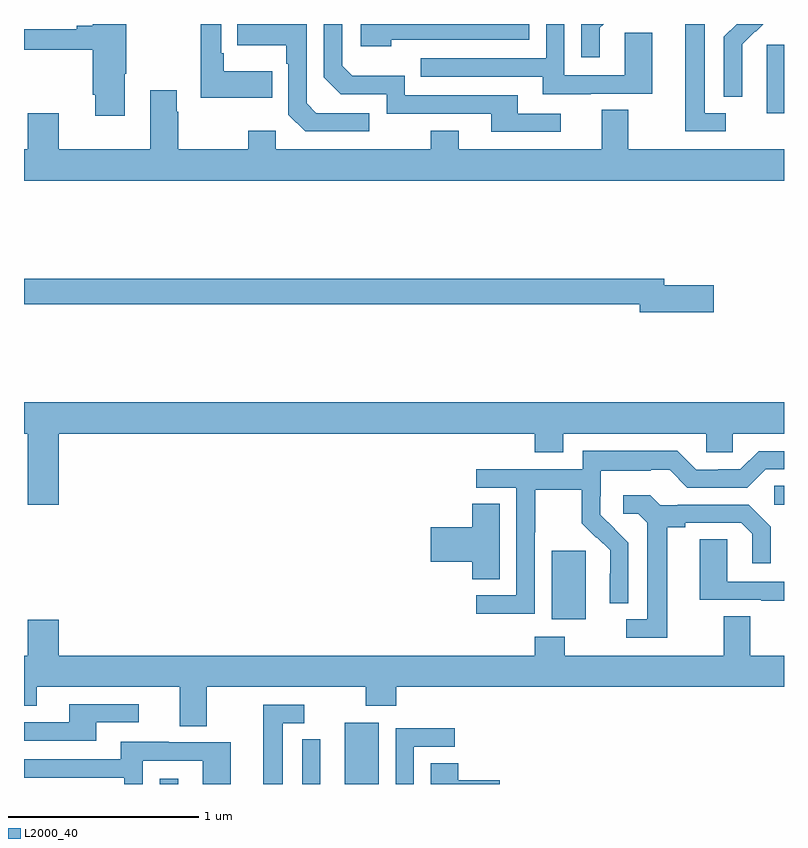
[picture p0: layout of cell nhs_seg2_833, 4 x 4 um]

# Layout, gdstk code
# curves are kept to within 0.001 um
import gdstk
lib = gdstk.Library(unit=1e-6, precision=1e-09)
def R(c, l, rs):  # rectangles x0, y0, x1, y1
    for r in rs: c.add(gdstk.rectangle(r[:2], r[2:], *l))
def P(c, l, *ps):  # polygons
    for p in ps: c.add(gdstk.Polygon(p, *l))
L2000_40 = (2000, 40)

nhs_seg2_833 = lib.new_cell('nhs_seg2_833')
R(nhs_seg2_833, L2000_40, [(153.714,637.8,153.811,637.828), (154.688,637.8,154.867,638.122), (155.777,638.666,155.956,639.027), (156.948,639.27,157,639.371), (156.908,641.33,157,641.691)])
P(nhs_seg2_833, L2000_40, [(155.824,641.328),(155.599,641.328),(155.599,641.424),(155.004,641.424),(155.004,641.527),(154.727,641.527),(154.674,641.58),(154.674,641.8),(154.578,641.8),(154.578,641.52),(154.668,641.43),(154.908,641.43),(154.908,641.328),(155.459,641.328),(155.459,641.232),(155.824,641.232)],
  [(156.694,641.331),(156.583,641.331),(156.583,641.8),(156.479,641.8),(156.479,641.235),(156.694,641.235)],
  [(156.031,641.781),(156.05,641.8),(155.934,641.8),(155.934,641.625),(156.031,641.625)],
  [(154.307,641.551),(154.051,641.551),(154.051,641.647),(154.038,641.647),(154.038,641.8),(153.93,641.8),(153.93,641.411),(154.307,641.411)],
  [(153.529,641.539),(153.537,641.539),(153.537,641.8),(153.362,641.8),(153.362,641.792),(153.278,641.792),(153.278,641.773),(153,641.773),(153,641.664),(153.362,641.664),(153.362,641.428),(153.374,641.428),(153.374,641.316),(153.529,641.316)],
  [(155.983,641.433),(156.307,641.433),(156.307,641.753),(156.162,641.753),(156.162,641.529),(155.844,641.529),(155.844,641.8),(155.748,641.8),(155.748,641.619),(155.089,641.619),(155.089,641.523),(155.729,641.523),(155.729,641.429),(155.983,641.429)],
  [(154.934,641.718),(155.658,641.718),(155.658,641.8),(154.773,641.8),(154.773,641.684),(154.934,641.684)],
  [(156.78,641.57),(156.779,641.57),(156.779,641.693),(156.849,641.763),(156.852,641.76),(156.892,641.8),(156.75,641.8),(156.684,641.734),(156.684,641.416),(156.78,641.416)],
  [(154.816,641.331),(154.539,641.331),(154.488,641.382),(154.488,641.8),(154.123,641.8),(154.123,641.687),(154.38,641.687),(154.38,641.591),(154.392,641.591),(154.392,641.322),(154.479,641.235),(154.816,641.235)],
  [(157,641.14),(156.181,641.14),(156.181,641.348),(156.041,641.348),(156.041,641.14),(155.287,641.14),(155.287,641.239),(155.14,641.239),(155.14,641.14),(154.326,641.14),(154.326,641.239),(154.18,641.239),(154.18,641.14),(153.813,641.14),(153.813,641.339),(153.805,641.339),(153.805,641.452),(153.665,641.452),(153.665,641.14),(153.184,641.14),(153.184,641.329),(153.02,641.329),(153.02,641.14),(153,641.14),(153,640.976),(157,640.976)],
  [(156.631,640.424),(156.37,640.424),(156.37,640.46),(153,640.46),(153,640.324),(156.242,640.324),(156.242,640.282),(156.631,640.282)],
  [(153.184,639.644),(155.687,639.644),(155.687,639.545),(155.839,639.545),(155.839,639.644),(156.591,639.644),(156.591,639.546),(156.729,639.546),(156.729,639.644),(157,639.644),(157,639.808),(153,639.808),(153,639.644),(153.02,639.644),(153.02,639.27),(153.184,639.27)],
  [(155.688,639.124),(155.691,639.124),(155.691,639.348),(155.935,639.348),(155.935,639.173),(156.012,639.096),(156.015,639.099),(156.086,639.029),(156.086,638.906),(156.084,638.906),(156.084,638.752),(156.18,638.752),(156.18,639.07),(156.034,639.218),(156.034,639.315),(156.036,639.315),(156.036,639.449),(156.299,639.449),(156.299,639.453),(156.399,639.453),(156.492,639.36),(156.807,639.36),(156.903,639.456),(157,639.456),(157,639.552),(156.867,639.552),(156.771,639.456),(156.653,639.456),(156.653,639.453),(156.537,639.453),(156.437,639.553),(155.94,639.553),(155.94,639.456),(155.379,639.456),(155.379,639.36),(155.592,639.36),(155.592,638.793),(155.379,638.793),(155.379,638.695),(155.688,638.695)],
  [(156.385,639.152),(156.481,639.152),(156.481,639.174),(156.776,639.174),(156.833,639.117),(156.833,638.961),(156.93,638.961),(156.93,639.154),(156.814,639.27),(156.442,639.27),(156.442,639.267),(156.348,639.267),(156.296,639.319),(156.153,639.319),(156.153,639.222),(156.234,639.222),(156.281,639.175),(156.281,638.667),(156.171,638.667),(156.171,638.571),(156.385,638.571)],
  [(155.503,639.275),(155.36,639.275),(155.36,639.152),(155.142,639.152),(155.142,638.969),(155.36,638.969),(155.36,638.878),(155.503,638.878)],
  [(157,638.865),(156.702,638.865),(156.702,639.089),(156.557,639.089),(156.557,638.769),(156.881,638.769),(156.881,638.765),(157,638.765)],
  [(153.184,638.665),(153.02,638.665),(153.02,638.476),(153,638.476),(153,638.213),(153.067,638.213),(153.067,638.312),(153.821,638.312),(153.821,638.104),(153.961,638.104),(153.961,638.312),(154.798,638.312),(154.798,638.213),(154.958,638.213),(154.958,638.312),(157,638.312),(157,638.476),(156.823,638.476),(156.823,638.684),(156.683,638.684),(156.683,638.476),(155.847,638.476),(155.847,638.575),(155.687,638.575),(155.687,638.476),(153.184,638.476)],
  [(153.379,638.124),(153.604,638.124),(153.604,638.22),(153.239,638.22),(153.239,638.124),(153,638.124),(153,638.028),(153.379,638.028)],
  [(154.363,638.121),(154.474,638.121),(154.474,638.217),(154.259,638.217),(154.259,637.8),(154.363,637.8)],
  [(155.052,637.995),(155.266,637.995),(155.266,638.094),(154.956,638.094),(154.956,637.8),(155.052,637.8)],
  [(154.559,637.882),(154.56,637.882),(154.56,638.036),(154.464,638.036),(154.464,637.8),(154.559,637.8)],
  [(153.624,637.923),(153.942,637.923),(153.942,637.8),(154.087,637.8),(154.087,638.019),(153.763,638.019),(153.763,638.023),(153.509,638.023),(153.509,637.929),(153,637.929),(153,637.833),(153.528,637.833),(153.528,637.8),(153.624,637.8)],
  [(155.503,637.82),(155.285,637.82),(155.285,637.91),(155.141,637.91),(155.141,637.8),(155.503,637.8)])

lib.write_gds('nhs_seg2_833.gds')
